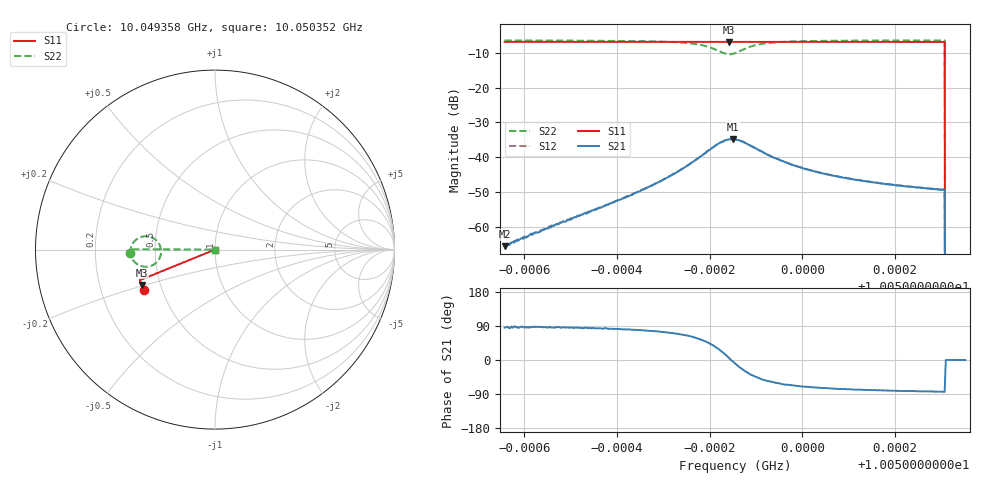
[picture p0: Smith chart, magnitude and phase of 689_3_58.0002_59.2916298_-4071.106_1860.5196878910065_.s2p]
#  HZ  S  RI  R  50.00
! Rohde & Schwarz Vector Network Analyzer
! Rohde-Schwarz,ZNB20-2Port,1311601062101988,3.16
! Created: UTC 3/21/2024, 1:21:12 AM
! freq[Hz]  re:S11  im:S11  re:S21  im:S21  re:S12  im:S12  re:S22  im:S22
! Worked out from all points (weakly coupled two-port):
!   401 points, 10.049358 GHz to 10.050352 GHz, reference 50 ohm
!   highest |S21| = -34.75 dB at 10.04985 GHz (marker M1); lowest = -65.6 dB at 10.049358 GHz (marker M2)
!   lowest |S11| = -6.9 dB at 10.049842 GHz (marker M3), VSWR 2.64, Z = 19.8 - j9.81 ohm
!   |S11| at or under -10 dB: 10.050307 GHz to end of sweep
!   |S22| runs from - to -6.5 dB; largest |S21 - S12| = 0.0013
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1.00493576e10  -0.3935 -0.227  4.07e-05 0.000525  6.92e-06 0.000535  -0.4738 -0.0211
1.00494098e10  -0.3952 -0.2237  6.21e-05 0.000747  1.13e-07 0.000741  -0.4735 -0.0153
1.00494545e10  -0.3965 -0.2209  3.52e-05 0.000981  3.67e-05 0.00101  -0.473 -0.0103
1.00495241e10  -0.3987 -0.2168  0.000147 0.00149  5.33e-05 0.00149  -0.4717 -0.000916
1.00496285e10  -0.4016 -0.2105  0.000498 0.00278  0.000322 0.00282  -0.4663 0.018
1.00496906e10  -0.4034 -0.2067  0.00112 0.00424  0.000903 0.00434  -0.4575 0.0353
1.00497453e10  -0.4049 -0.2032  0.0029 0.00647  0.00258 0.00664  -0.4369 0.0575
1.00497751e10  -0.4054 -0.2013  0.00533 0.00807  0.00493 0.00833  -0.4107 0.071
1.00498e10  -0.4059 -0.1997  0.00916 0.00875  0.00874 0.00931  -0.3721 0.0735
1.00498223e10  -0.4058 -0.1984  0.0146 0.00713  0.0141 0.00776  -0.325 0.0495
1.00498422e10  -0.4057 -0.1977  0.0179 0.00152  0.0177 0.0026  -0.3002 -0.00636
1.00498497e10  -0.4059 -0.1975  0.0183 -0.00102  0.018 8.32e-05  -0.3027 -0.0308
1.00498547e10  -0.406 -0.1974  0.0179 -0.00277  0.0177 -0.00166  -0.3081 -0.0463
1.00498795e10  -0.4071 -0.1965  0.0133 -0.00838  0.0139 -0.00736  -0.3582 -0.0914
1.00499143e10  -0.4087 -0.1947  0.00737 -0.00937  0.00793 -0.0088  -0.4169 -0.0902
1.00499665e10  -0.4105 -0.1916  0.00349 -0.00752  0.00395 -0.00733  -0.4521 -0.0649
1.00500212e10  -0.4121 -0.1881  0.00198 -0.00607  0.00235 -0.00596  -0.4646 -0.045
1.00500833e10  -0.4138 -0.1843  0.00124 -0.00502  0.00151 -0.00494  -0.4704 -0.0297
1.00501877e10  -0.4163 -0.1778  0.000637 -0.004  0.000889 -0.00399  -0.4739 -0.0121
1.0050302e10  -0.4192 -0.1708  0.000366 -0.0034  0.000578 -0.00337  -0.4751 0.00179
1.00503145e10  0 0  0 0  0 0  0 0
1.00503517e10  0 0  0 0  0 0  0 0
